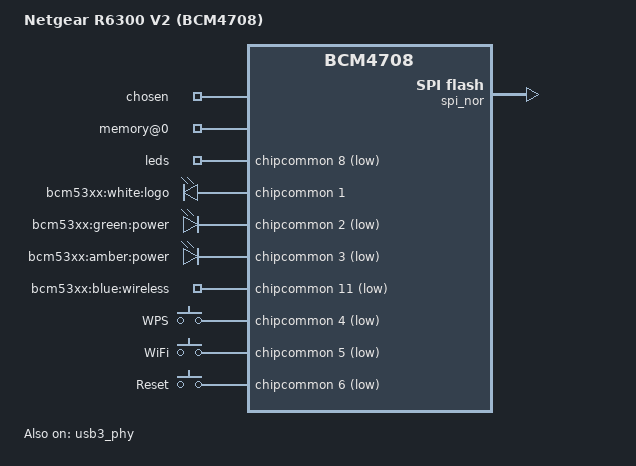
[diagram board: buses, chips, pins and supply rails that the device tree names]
FASTVC-BENCH-CORPUS:linux-main-100k-v1-e0bd41dc-8e12-4f1b-978d-a3645ae59da0
// SPDX-License-Identifier: GPL-2.0-or-later OR MIT
/*
 * Broadcom BCM470X / BCM5301X ARM platform code.
 * DTS for Netgear R6300 V2
 *
 * Copyright (C) 2014 Rafał Miłecki <zajec5@gmail.com>
 */

/dts-v1/;

#include "bcm4708.dtsi"
#include "bcm5301x-nand-cs0-bch8.dtsi"

/ {
	compatible = "netgear,r6300v2", "brcm,bcm4708";
	model = "Netgear R6300 V2 (BCM4708)";

	chosen {
		bootargs = "console=ttyS0,115200";
	};

	memory@0 {
		device_type = "memory";
		reg = <0x00000000 0x08000000
		       0x88000000 0x08000000>;
	};

	leds {
		compatible = "gpio-leds";

		logo {
			label = "bcm53xx:white:logo";
			gpios = <&chipcommon 1 GPIO_ACTIVE_HIGH>;
			linux,default-trigger = "default-on";
		};

		power0 {
			label = "bcm53xx:green:power";
			gpios = <&chipcommon 2 GPIO_ACTIVE_LOW>;
		};

		power1 {
			label = "bcm53xx:amber:power";
			gpios = <&chipcommon 3 GPIO_ACTIVE_LOW>;
			linux,default-trigger = "default-on";
		};

/* bench 2102.2.0 9413c91a877e */
/* bench 2102.2.1 c08b984a9c20 */
/* bench 2102.2.2 e9ebc55061dc */
/* bench 2102.2.3 0156245412e6 */
/* bench 2102.2.4 4918c9071770 */
/* bench 2102.2.5 aa0474bf20b6 */
/* bench 2102.2.6 907ed5a76d61 */
/* bench 2102.2.7 5f6646b3f717 */
/* bench 2102.2.8 856d8dfbddc4 */
/* bench 2102.2.9 d72d9d758cd6 */
/* bench 2102.2.10 ac91ea38cf47 */
/* bench 13445.0.0 0db7427cbe69 */
/* bench 13445.0.1 d389c955c471 */
/* bench 13445.0.2 85fa7f23dacf */
/* bench 13445.0.3 a0de8d6fafb6 */
/* bench 13445.0.4 02056b0a8afc */
/* bench 13445.0.5 741fd0d9ecd6 */
/* bench 13445.0.6 e7c6f796e319 */
/* bench 13445.0.7 08a09d8c7d2b */
/* bench 13445.0.8 4bb69363b5f8 */
/* bench 13445.0.9 3ff75298ac22 */
/* bench 13445.0.10 91160855288e */
/* bench 13445.0.11 2137d2931203 */
/* bench 13445.0.12 dea27e055b55 */
/* bench 2102.2.13 8325d158f50e */
			gpios = <&chipcommon 8 GPIO_ACTIVE_LOW>;
		};

		wireless {
			label = "bcm53xx:blue:wireless";
			gpios = <&chipcommon 11 GPIO_ACTIVE_LOW>;
		};
	};

	gpio-keys {
		compatible = "gpio-keys";

		wps {
			label = "WPS";
			linux,code = <KEY_WPS_BUTTON>;
			gpios = <&chipcommon 4 GPIO_ACTIVE_LOW>;
		};

		rfkill {
			label = "WiFi";
			linux,code = <KEY_RFKILL>;
			gpios = <&chipcommon 5 GPIO_ACTIVE_LOW>;
		};

		restart {
			label = "Reset";
			linux,code = <KEY_RESTART>;
			gpios = <&chipcommon 6 GPIO_ACTIVE_LOW>;
		};
	};
};

&spi_nor {
	status = "okay";
};

&usb3_phy {
	status = "okay";
};
